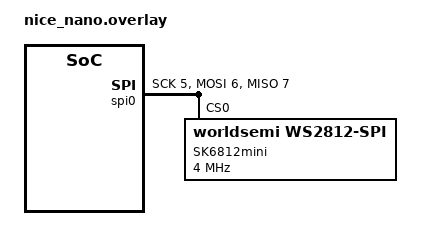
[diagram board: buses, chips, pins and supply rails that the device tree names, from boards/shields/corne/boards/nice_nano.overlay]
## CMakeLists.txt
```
cmake_minimum_required(VERSION 3.13.1)

set(CONFIG_APPLICATION_DEFINED_SYSCALL true)
list(APPEND BOARD_ROOT ${CMAKE_SOURCE_DIR})
list(APPEND DTS_ROOT ${CMAKE_SOURCE_DIR})

# Add our custom Zephyr module for drivers w/ syscalls, etc.
list(APPEND DTS_ROOT ${CMAKE_SOURCE_DIR}/drivers/zephyr)

list(APPEND ZEPHYR_EXTRA_MODULES
  ${CMAKE_CURRENT_SOURCE_DIR}/drivers
)

include(cmake/zmk_config.cmake)

# Find Zephyr. This also loads Zephyr's build system.
find_package(Zephyr REQUIRED HINTS ../zephyr)
project(zmk)

zephyr_linker_sources(RODATA include/linker/zmk-events.ld)

# Add your source file to the "app" target. This must come after
# find_package(Zephyr) which defines the target.
target_include_directories(app PRIVATE include)
target_sources_ifdef(CONFIG_ZMK_SLEEP app PRIVATE src/power.c)
target_sources(app PRIVATE src/activity.c)
target_sources(app PRIVATE src/kscan.c)
target_sources(app PRIVATE src/matrix_transform.c)
target_sources(app PRIVATE src/hid.c)
target_sources(app PRIVATE src/sensors.c)
target_sources(app PRIVATE src/event_manager.c)
target_sources_ifdef(CONFIG_ZMK_EXT_POWER app PRIVATE src/ext_power_generic.c)
target_sources(app PRIVATE src/events/activity_state_changed.c)
target_sources(app PRIVATE src/events/position_state_changed.c)
target_sources(app PRIVATE src/events/layer_state_changed.c)
target_sources(app PRIVATE src/events/keycode_state_changed.c)
target_sources(app PRIVATE src/events/modifiers_state_changed.c)
target_sources(app PRIVATE src/events/sensor_event.c)
target_sources_ifdef(CONFIG_ZMK_BLE app PRIVATE src/events/ble_active_profile_changed.c)
target_sources_ifdef(CONFIG_ZMK_BLE app PRIVATE src/events/battery_state_changed.c)
target_sources_ifdef(CONFIG_USB app PRIVATE src/events/usb_conn_state_changed.c)
target_sources(app PRIVATE src/behaviors/behavior_reset.c)
target_sources_ifdef(CONFIG_ZMK_EXT_POWER app PRIVATE src/behaviors/behavior_ext_power.c)
if ((NOT CONFIG_ZMK_SPLIT) OR CONFIG_ZMK_SPLIT_BLE_ROLE_CENTRAL)
  target_sources(app PRIVATE src/behaviors/behavior_key_press.c)
  target_sources(app PRIVATE src/behaviors/behavior_hold_tap.c)
  target_sources(app PRIVATE src/behaviors/behavior_sticky_key.c)
  target_sources(app PRIVATE src/behaviors/behavior_momentary_layer.c)
  target_sources(app PRIVATE src/behaviors/behavior_outputs.c)
  target_sources(app PRIVATE src/behaviors/behavior_toggle_layer.c)
  target_sources(app PRIVATE src/behaviors/behavior_to_layer.c)
  target_sources(app PRIVATE src/behaviors/behavior_transparent.c)
  target_sources(app PRIVATE src/behaviors/behavior_none.c)
  target_sources(app PRIVATE src/behaviors/behavior_sensor_rotate_key_press.c)
  target_sources(app PRIVATE src/combo.c)
  target_sources(app PRIVATE src/keymap.c)
endif()
target_sources_ifdef(CONFIG_ZMK_RGB_UNDERGLOW app PRIVATE src/behaviors/behavior_rgb_underglow.c)
target_sources_ifdef(CONFIG_ZMK_BLE app PRIVATE src/behaviors/behavior_bt.c)
target_sources_ifdef(CONFIG_ZMK_BLE app PRIVATE src/ble.c)
target_sources_ifdef(CONFIG_ZMK_BLE app PRIVATE src/battery.c)
if (CONFIG_ZMK_SPLIT_BLE AND (NOT CONFIG_ZMK_SPLIT_BLE_ROLE_CENTRAL))
	target_sources(app PRIVATE src/split_listener.c)
	target_sources(app PRIVATE src/split/bluetooth/service.c)
endif()
if (CONFIG_ZMK_SPLIT_BLE AND CONFIG_ZMK_SPLIT_BLE_ROLE_CENTRAL)
	target_sources(app PRIVATE src/split/bluetooth/central.c)
endif()
target_sources_ifdef(CONFIG_USB app PRIVATE src/usb.c)
target_sources_ifdef(CONFIG_ZMK_BLE app PRIVATE src/hog.c)
target_sources_ifdef(CONFIG_ZMK_RGB_UNDERGLOW app PRIVATE src/rgb_underglow.c)
target_sources(app PRIVATE src/endpoints.c)
target_sources(app PRIVATE src/hid_listener.c)
target_sources(app PRIVATE src/main.c)

add_subdirectory(src/display/)

zephyr_cc_option(-Wfatal-errors)
```

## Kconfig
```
# Copyright (c) 2020 The ZMK Contributors
# SPDX-License-Identifier: MIT

mainmenu "ZMK Firmware"

menu "ZMK"

menu "Basic Keyboard Setup"

config ZMK_KEYBOARD_NAME
	string "Keyboard Name"

config USB_DEVICE_PRODUCT
	default ZMK_KEYBOARD_NAME

config BT_DEVICE_NAME
	default ZMK_KEYBOARD_NAME

config USB_DEVICE_VID
	default 0x1D50

config USB_DEVICE_PID
	default 0x615E

config USB_DEVICE_MANUFACTURER
	default "ZMK Project"

menu "HID Output Types"

config ZMK_USB
	bool "USB"
	select USB
	select USB_DEVICE_STACK
	select USB_DEVICE_HID

if ZMK_USB

config USB_NUMOF_EP_WRITE_RETRIES
	default 10

#ZMK_USB
endif

menuconfig ZMK_BLE
	bool "BLE (HID over GATT)"
	select BT
	select BT_SMP
	select BT_SMP_SC_PAIR_ONLY
	select BT_SMP_APP_PAIRING_ACCEPT
	select BT_PERIPHERAL
	select BT_DIS
	select BT_BAS
	select BT_SETTINGS
	select SETTINGS

if ZMK_BLE

config SYSTEM_WORKQUEUE_STACK_SIZE
	default 2048

config ZMK_BLE_THREAD_STACK_SIZE
	int "BLE notify thread stack size"
	default 512

config ZMK_BLE_THREAD_PRIORITY
	int "BLE notify thread priority"
	default 5

config ZMK_BLE_KEYBOARD_REPORT_QUEUE_SIZE
	int "Max number of keyboard HID reports to queue for sending over BLE"
	default 20

config ZMK_BLE_CONSUMER_REPORT_QUEUE_SIZE
	int "Max number of consumer HID reports to queue for sending over BLE"
	default 5

config ZMK_BLE_CLEAR_BONDS_ON_START
	bool "Configuration that clears all bond information from the keyboard on startup."
	default n

# HID GATT notifications sent this way are *not* picked up by Linux, and possibly others.
config BT_GATT_NOTIFY_MULTIPLE
	default n

config BT_DEVICE_APPEARANCE
	default 961

config ZMK_BLE_PASSKEY_ENTRY
	bool "Experimental: Requiring typing passkey from host to pair BLE connection"
	default n

#ZMK_BLE
endif

#HID Output Types
endmenu

menu "Split Support"

config ZMK_SPLIT
	bool "Split keyboard support"

if ZMK_SPLIT

menuconfig ZMK_SPLIT_BLE
	bool "Split keyboard support via BLE transport"
	depends on ZMK_BLE
	default y
	select BT_USER_PHY_UPDATE

if ZMK_SPLIT_BLE

menuconfig ZMK_SPLIT_BLE_ROLE_CENTRAL
	bool "Central"
	select BT_CENTRAL
	select BT_GATT_CLIENT
	select BT_GATT_AUTO_DISCOVER_CCC

if ZMK_SPLIT_BLE_ROLE_CENTRAL

config ZMK_SPLIT_BLE_CENTRAL_POSITION_QUEUE_SIZE
	int "Max number of key position state events to queue when received from peripherals"
	default 5

endif

if !ZMK_SPLIT_BLE_ROLE_CENTRAL

config ZMK_SPLIT_BLE_PERIPHERAL_STACK_SIZE
	int "BLE split peripheral notify thread stack size"
	default 512

config ZMK_SPLIT_BLE_PERIPHERAL_PRIORITY
	int "BLE split peripheral notify thread priority"
	default 5

config ZMK_SPLIT_BLE_PERIPHERAL_POSITION_QUEUE_SIZE
	int "Max number of key position state events to queue to send to the central"
	default 10

config ZMK_USB
	default n

config BT_MAX_PAIRED
	default 1

config BT_MAX_CONN
	default 1

config BT_GAP_AUTO_UPDATE_CONN_PARAMS
	default n

#!ZMK_SPLIT_BLE_ROLE_CENTRAL
endif

#ZMK_SPLIT_BLE
endif

#ZMK_SPLIT
endif 

if ZMK_BLE

if ZMK_SPLIT_BLE && ZMK_SPLIT_BLE_ROLE_CENTRAL

config BT_MAX_CONN
	default 6

config BT_MAX_PAIRED
	default 6

#ZMK_SPLIT_BLE && ZMK_SPLIT_BLE_ROLE_CENTRAL
endif

if !ZMK_SPLIT_BLE

config BT_MAX_CONN
	default 5

config BT_MAX_PAIRED
	default 5

#!ZMK_SPLIT_BLE
endif

#ZMK_BLE
endif

#Split Support
endmenu

#Basic Keyboard Setup
endmenu

menu "Display/LED Options"

rsource "src/display/Kconfig"

config ZMK_RGB_UNDERGLOW
	bool "RGB Adressable LED Underglow"
	select LED_STRIP

if ZMK_RGB_UNDERGLOW

# This default value cuts down on tons of excess .conf files, if you're using GPIO, manually disable this
config SPI
	default y

config ZMK_RGB_UNDERGLOW_EXT_POWER
	bool "RGB underglow toggling also controls external power"
	default y

config ZMK_RGB_UNDERGLOW_HUE_STEP
	int "RGB underglow hue step in degrees of 360"
	default 10

config ZMK_RGB_UNDERGLOW_SAT_STEP
	int "RGB underglow sturation step in percent"
	default 10

config ZMK_RGB_UNDERGLOW_BRT_STEP
	int "RGB underglow brightness step in percent"
	default 10

config ZMK_RGB_UNDERGLOW_HUE_START
	int "RGB underglow start hue value from 0-359"
	default 0

config ZMK_RGB_UNDERGLOW_SAT_START
	int "RGB underglow start saturations value from 0-100"
	default 100

config ZMK_RGB_UNDERGLOW_BRT_START
	int "RGB underglow start brightness value from 0-100"
	default 100

config ZMK_RGB_UNDERGLOW_SPD_START
	int "RGB underglow start animation speed value from 1-5"
	default 3

config ZMK_RGB_UNDERGLOW_EFF_START
	int "RGB underglow start effect int value related to the effect enum list"
	default 0

config ZMK_RGB_UNDERGLOW_ON_START
	bool "RGB underglow starts on by default"
	default y

#ZMK_RGB_UNDERGLOW
endif

#Display/LED Options
endmenu

menu "Power Management"

config ZMK_IDLE_TIMEOUT
	int "Milliseconds of inactivity before entering idle state (OLED shutoff, etc)"
	default 30000

config ZMK_SLEEP
	bool "Enable deep sleep support"
	imply USB

if ZMK_SLEEP

config SYS_POWER_DEEP_SLEEP_STATES
	default y

choice SYS_PM_POLICY
	default SYS_PM_POLICY_APP
endchoice

config DEVICE_POWER_MANAGEMENT
	default y

config ZMK_IDLE_SLEEP_TIMEOUT
	int "Milliseconds of inactivity before entering deep sleep"
	default 900000

#ZMK_SLEEP
endif

config ZMK_EXT_POWER
	bool "Enable support to control external power output"
	default y

#Power Management
endmenu

menu "Combo options"

config ZMK_COMBO_MAX_PRESSED_COMBOS
	int "Maximum number of currently pressed combos"
	default 4

config ZMK_COMBO_MAX_COMBOS_PER_KEY
	int "Maximum number of combos per key"
	default 5

config ZMK_COMBO_MAX_KEYS_PER_COMBO
	int "Maximum number of keys per combo"
	default 4

#Display/LED Options
endmenu

menu "Advanced"

menu "Initialization Priorities"

if USB

config ZMK_USB_INIT_PRIORITY
	int "USB Init Priority"
	default 50

#USB
endif

if ZMK_BLE || ZMK_SPLIT_BLE

config ZMK_BLE_INIT_PRIORITY
	int "BLE Init Priority"
	default 50

#ZMK_BLE || ZMK_SPLIT_BLE
endif

#Initialization Priorities
endmenu

menu "KSCAN Settings"

config ZMK_KSCAN_EVENT_QUEUE_SIZE
	int "Size of the event queue for KSCAN events to buffer events"
	default 4

config ZMK_KSCAN_MOCK_DRIVER
	bool "Enable mock kscan driver to simulate key presses"
	default n

config ZMK_KSCAN_COMPOSITE_DRIVER
	bool "Enable composite kscan driver to combine kscan devices"
	default n

#KSCAN Settings
endmenu

menu "USB Logging"

config ZMK_USB_LOGGING
	bool "Enable USB CDC ACM logging to help debug"
	select LOG
	select USB
	select USB_DEVICE_STACK
	select USB_CDC_ACM
	select SERIAL
	select CONSOLE
	select UART_INTERRUPT_DRIVEN
	select UART_LINE_CTRL
	select UART_CONSOLE
	select USB_UART_CONSOLE

if ZMK_USB_LOGGING

config ZMK_LOG_LEVEL
	default 4

config USB_CDC_ACM_RINGBUF_SIZE
	default 1024

config USB_CDC_ACM_DEVICE_NAME
	default "CDC_ACM"

config USB_CDC_ACM_DEVICE_COUNT
	default 1

config UART_CONSOLE_ON_DEV_NAME
	default "CDC_ACM_0"

config LOG_BUFFER_SIZE
	default 8192

config LOG_STRDUP_BUF_COUNT
	default 16

#ZMK_USB_LOGGING
endif

#USB Logging
endmenu

if SETTINGS

config ZMK_SETTINGS_SAVE_DEBOUNCE
	int "Milliseconds to debounce settings saves"
	default 60000

#SETTINGS
endif

#Advanced
endmenu

#ZMK
endmenu

config HEAP_MEM_POOL_SIZE
	default 8192

config KERNEL_BIN_NAME
	default "zmk"

config REBOOT
	default y

config USB
	default y if HAS_HW_NRF_USBD

config ZMK_WPM
	bool "Calculate WPM"
	default n

module = ZMK
module-str = zmk
source "subsys/logging/Kconfig.template.log_config"

rsource "boards/Kconfig"
rsource "boards/shields/*/Kconfig.defconfig"
rsource "boards/shields/*/Kconfig.shield"

osource "$(ZMK_CONFIG)/boards/shields/*/Kconfig.defconfig"
osource "$(ZMK_CONFIG)/boards/shields/*/Kconfig.shield"


source "Kconfig.zephyr"
```

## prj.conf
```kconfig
# Turn on logging, and set ZMK logging to debug output
CONFIG_LOG=y
CONFIG_ZMK_LOG_LEVEL_DBG=y

# Turn on USB CDC ACM device
CONFIG_USB=y
CONFIG_USB_DEVICE_STACK=y
CONFIG_USB_CDC_ACM=y
CONFIG_USB_CDC_ACM_RINGBUF_SIZE=1024
CONFIG_USB_CDC_ACM_DEVICE_NAME="CDC_ACM"
CONFIG_USB_CDC_ACM_DEVICE_COUNT=1

# Enable serial console
CONFIG_SERIAL=y
CONFIG_CONSOLE=y
CONFIG_UART_INTERRUPT_DRIVEN=y
CONFIG_UART_LINE_CTRL=y

# Enable USB UART, and set the console device
CONFIG_UART_CONSOLE=y
CONFIG_USB_UART_CONSOLE=y
CONFIG_UART_CONSOLE_ON_DEV_NAME="CDC_ACM_0"
CONFIG_USB_UART_DTR_WAIT=n
```

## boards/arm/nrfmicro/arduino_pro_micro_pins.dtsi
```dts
/*
 * Copyright (c) 2020 Pete Johanson
 *
 * SPDX-License-Identifier: MIT
 */

/ {
	pro_micro_d: connector_d {
		compatible = "arduino-pro-micro";
		#gpio-cells = <2>;
		gpio-map-mask = <0xffffffff 0xffffffc0>;
		gpio-map-pass-thru = <0 0x3f>;
		gpio-map
			= <0 0 &gpio0 8 0>		/* D2 - 0 */
			, <1 0 &gpio0 6 0>		/* D3 - 1 */
			, <2 0 &gpio0 15 0>		/* D1 - 2 */
			, <3 0 &gpio0 17 0>		/* D0 - 3 */
			, <4 0 &gpio0 20 0>		/* D4 - 4/A6 */
			, <5 0 &gpio0 13 0>		/* C6 - 5 */
			, <6 0 &gpio0 24 0>		/* D7 - 6/A7 */
			, <7 0 &gpio0 9 0>		/* E6 - 7 */
			, <8 0 &gpio0 10 0>		/* B4 - 8/A8 */
			, <9 0 &gpio1 6 0>		/* B5 - 9/A9 */
			, <10 0 &gpio1 11 0>	/* B6 - 10/A10 */
			, <16 0 &gpio0 28 0>	/* B2 - 16 */
			, <14 0 &gpio0 3 0>		/* B3 - 14 */
			, <15 0 &gpio1 13 0>	/* B1 - 15 */
			;
	};

	pro_micro_a: connector_a {
		compatible = "arduino-pro-micro";
		#gpio-cells = <2>;
		gpio-map-mask = <0xffffffff 0xffffffc0>;
		gpio-map-pass-thru = <0 0x3f>;
		gpio-map
			= <0 0 &gpio0 2 0>	/* F7 - 18/A0 */
			, <1 0 &gpio0 29 0>	/* F6 - 19/A1 */
			, <2 0 &gpio0 31 0>	/* F5 - 20/A2 */
			, <3 0 &gpio0 30 0>	/* F4 - 21/A3 */
			, <6 0 &gpio0 20 0>	/* D4 - 4/A6 */
			, <7 0 &gpio0 24 0>	/* D7 - 6/A7 */
			, <8 0 &gpio0 10 0>	/* B4 - 8/A8 */
			, <9 0 &gpio1 6 0>	/* B5 - 9/A9 */
			, <10 0 &gpio1 11 0>/* B6 - 10/A10 */
			;
	};
};

pro_micro_i2c: &i2c0 {};
pro_micro_spi: &spi1 {};
pro_micro_serial: &uart0 {};
```

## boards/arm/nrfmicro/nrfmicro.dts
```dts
/*
 * Copyright (c) 2020 Pete Johanson
 *
 * SPDX-License-Identifier: MIT
 */

/dts-v1/;
#include <nordic/nrf52840_qiaa.dtsi>
#include "arduino_pro_micro_pins.dtsi"

/ {
	model = "nrfmicro";
	compatible = "joric,nrfmicro";

	chosen {
		zephyr,code-partition = &code_partition;
		// zephyr,console = &uart0;
		//zephyr,bt-mon-uart = &uart0;
		//zephyr,bt-c2h-uart = &uart0;
		zephyr,sram = &sram0;
		zephyr,flash = &flash0;
	};

	leds {
		compatible = "gpio-leds";
		blue_led: led_0 {
			gpios = <&gpio1 10 GPIO_ACTIVE_LOW>;
			label = "Blue LED";
		};
	};

};

&gpio0 {
	status = "okay";
};

&gpio1 {
	status = "okay";
};

&uart0 {
	compatible = "nordic,nrf-uart";
	current-speed = <115200>;
	tx-pin = <6>;
	rx-pin = <8>;
};

&i2c1 {
	compatible = "nordic,nrf-twi";
	sda-pin = <15>;
	scl-pin = <17>;
};

&uart0 {
	compatible = "nordic,nrf-uarte";
	status = "okay";
	current-speed = <115200>;
	tx-pin = <39>;
	rx-pin = <34>;
	rts-pin = <33>;
	cts-pin = <12>;
};

&usbd {
	status = "okay";
};


&flash0 {
	/*
	 * For more information, see:
	 * http://docs.zephyrproject.org/latest/devices/dts/flash_partitions.html
	 */
	partitions {
		compatible = "fixed-partitions";
		#address-cells = <1>;
		#size-cells = <1>;

		boot_partition: partition@0 {
			label = "adafruit_boot";
			reg = <0x000000000 0x0000C000>;
		};
		code_partition: partition@26000 {
			label = "code_partition";
			reg = <0x00026000 0x000d2000>;
		};

		/*
		 * The flash starting at 0x000f8000 and ending at
		 * 0x000fffff is reserved for use by the application.
		 */

		/*
		 * Storage partition will be used by FCB/LittleFS/NVS
		 * if enabled.
		 */
		storage_partition: partition@f8000 {
			label = "storage";
			reg = <0x000f8000 0x00008000>;
		};
	};
};
```

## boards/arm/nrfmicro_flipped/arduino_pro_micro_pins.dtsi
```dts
/*
 * Copyright (c) 2020 Pete Johanson
 *
 * SPDX-License-Identifier: MIT
 */

/ {
	pro_micro_d: connector_d {
		compatible = "arduino-pro-micro";
		#gpio-cells = <2>;
		gpio-map-mask = <0xffffffff 0xffffffc0>;
		gpio-map-pass-thru = <0 0x3f>;
		gpio-map
			= <0 0 &gpio0 8 0>		/* D0 */
			, <1 0 &gpio0 6 0>		/* D1 */
			, <2 0 &gpio0 30 0>		/* D2 */
			, <3 0 &gpio0 31 0>		/* D3 */
			, <4 0 &gpio0 29 0>		/* D4/A6 */
			, <5 0 &gpio0 2 0>		/* D5 */
			, <6 0 &gpio1 13 0>		/* D6/A7 */
			, <7 0 &gpio0 3 0>		/* D7 */
			, <8 0 &gpio0 28 0>		/* D8/A8 */
			, <9 0 &gpio1 11 0>		/* D9/A9 */
			, <10 0 &gpio1 6 0>	    /* D10/A10 */
			, <16 0 &gpio0 10 0>	/* D16 */
			, <14 0 &gpio0 9 0>	    /* D14 */
			, <15 0 &gpio0 24 0>	/* D15 */
			;
	};

	pro_micro_a: connector_a {
		compatible = "arduino-pro-micro";
		#gpio-cells = <2>;
		gpio-map-mask = <0xffffffff 0xffffffc0>;
		gpio-map-pass-thru = <0 0x3f>;
		gpio-map
			= <0 0 &gpio0 13 0>	/* A0 */
			, <1 0 &gpio0 20 0>	/* A1 */
			, <2 0 &gpio0 17 0>	/* A2 */
			, <3 0 &gpio0 15 0>	/* A3 */
			, <6 0 &gpio0 29 0>	/* D4/A6 */
			, <7 0 &gpio1 13 0>	/* D6/A7 */
			, <8 0 &gpio0 28 0>	/* D8/A8 */
			, <9 0 &gpio1 11 0>	/* D9/A9 */
			, <10 0 &gpio1 6 0>	/* D10/A10 */
			;
	};
};

pro_micro_i2c: &i2c0 {};
pro_micro_spi: &spi0 {};
pro_micro_serial: &uart0 {};
```

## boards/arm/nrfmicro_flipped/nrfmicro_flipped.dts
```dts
/*
 * Copyright (c) 2020 Pete Johanson
 *
 * SPDX-License-Identifier: MIT
 */

/dts-v1/;
#include <nordic/nrf52840_qiaa.dtsi>
#include "arduino_pro_micro_pins.dtsi"

/ {
	model = "nrfmicro_flipped";
	compatible = "joric,nrfmicro";

	chosen {
		zephyr,code-partition = &code_partition;
		// zephyr,console = &uart0;
		//zephyr,bt-mon-uart = &uart0;
		//zephyr,bt-c2h-uart = &uart0;
		zephyr,sram = &sram0;
		zephyr,flash = &flash0;
	};

	leds {
		compatible = "gpio-leds";
		blue_led: led_0 {
			gpios = <&gpio1 10 GPIO_ACTIVE_LOW>;
			label = "Blue LED";
		};
	};

};

&gpio0 {
	status = "okay";
};

&gpio1 {
	status = "okay";
};

&uart0 {
	compatible = "nordic,nrf-uart";
	current-speed = <115200>;
	tx-pin = <6>;
	rx-pin = <8>;
};

&i2c0 {
	compatible = "nordic,nrf-twi";
	sda-pin = <30>;
	scl-pin = <31>;
};

&uart0 {
	compatible = "nordic,nrf-uarte";
	status = "okay";
	current-speed = <115200>;
	tx-pin = <39>;
	rx-pin = <34>;
	rts-pin = <33>;
	cts-pin = <12>;
};

&usbd {
	status = "okay";
};


&flash0 {
	/*
	 * For more information, see:
	 * http://docs.zephyrproject.org/latest/devices/dts/flash_partitions.html
	 */
	partitions {
		compatible = "fixed-partitions";
		#address-cells = <1>;
		#size-cells = <1>;

		boot_partition: partition@0 {
			label = "adafruit_boot";
			reg = <0x000000000 0x0000C000>;
		};
		code_partition: partition@26000 {
			label = "code_partition";
			reg = <0x00026000 0x000d2000>;
		};

		/*
		 * The flash starting at 0x000f8000 and ending at
		 * 0x000fffff is reserved for use by the application.
		 */

		/*
		 * Storage partition will be used by FCB/LittleFS/NVS
		 * if enabled.
		 */
		storage_partition: partition@f8000 {
			label = "storage";
			reg = <0x000f8000 0x00008000>;
		};
	};
};
```

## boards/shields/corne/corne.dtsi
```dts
/*
 * Copyright (c) 2020 Pete Johanson
 *
 * SPDX-License-Identifier: MIT
 */

#include <dt-bindings/zmk/matrix-transform.h>

/ {
	chosen {
		zmk,kscan = &kscan0;
		zmk,matrix_transform = &default_transform;
		zmk,underglow = &led_strip;
	};

	default_transform: keymap_transform_0 {
		compatible = "zmk,matrix-transform";
		columns = <12>;
		rows = <4>;
// | SW1  | SW2  | SW3  | SW4  | SW5  | SW6  |   | SW6  | SW5  | SW4  | SW3  | SW2  | SW1  |
// | SW7  | SW8  | SW9  | SW10 | SW11 | SW12 |   | SW12 | SW11 | SW10 | SW9  | SW8  | SW7  |
// | SW13 | SW14 | SW15 | SW16 | SW17 | SW18 |   | SW18 | SW17 | SW16 | SW15 | SW14 | SW13 |
//                      | SW19 | SW20 | SW21 |   | SW21 | SW20 | SW19 |
		map = <
RC(0,0) RC(0,1) RC(0,2) RC(0,3) RC(0,4) RC(0,5)  RC(0,6) RC(0,7) RC(0,8) RC(0,9) RC(0,10) RC(0,12)
RC(1,0) RC(1,1) RC(1,2) RC(1,3) RC(1,4) RC(1,5)  RC(1,6) RC(1,7) RC(1,8) RC(1,9) RC(1,10) RC(1,12)
RC(2,0) RC(2,1) RC(2,2) RC(2,3) RC(2,4) RC(2,5)  RC(2,6) RC(2,7) RC(2,8) RC(2,9) RC(2,10) RC(2,12)
                        RC(3,3) RC(3,4) RC(3,5)  RC(3,6) RC(3,7) RC(3,8)
		>;
	};

	five_column_transform: keymap_transform_1 {
		compatible = "zmk,matrix-transform";
		columns = <10>;
		rows = <4>;
// | SW2  | SW3  | SW4  | SW5  | SW6  |   | SW6  | SW5  | SW4  | SW3  | SW2  |
// | SW8  | SW9  | SW10 | SW11 | SW12 |   | SW12 | SW11 | SW10 | SW9  | SW8  |
// | SW14 | SW15 | SW16 | SW17 | SW18 |   | SW18 | SW17 | SW16 | SW15 | SW14 |
//                      | SW19 | SW20 | SW21 |   | SW21 | SW20 | SW19 |
		map = <
RC(0,1) RC(0,2) RC(0,3) RC(0,4) RC(0,5)  RC(0,6) RC(0,7) RC(0,8) RC(0,9) RC(0,10)
RC(1,1) RC(1,2) RC(1,3) RC(1,4) RC(1,5)  RC(1,6) RC(1,7) RC(1,8) RC(1,9) RC(1,10)
RC(2,1) RC(2,2) RC(2,3) RC(2,4) RC(2,5)  RC(2,6) RC(2,7) RC(2,8) RC(2,9) RC(2,10)
                        RC(3,3) RC(3,4) RC(3,5)  RC(3,6) RC(3,7) RC(3,8)
		>;
	};

	kscan0: kscan {
		compatible = "zmk,kscan-gpio-matrix";
		label = "KSCAN";

		diode-direction = "col2row";
		row-gpios
			= <&pro_micro_d 4 (GPIO_ACTIVE_HIGH | GPIO_PULL_DOWN)>
			, <&pro_micro_d 5 (GPIO_ACTIVE_HIGH | GPIO_PULL_DOWN)>
			, <&pro_micro_d 6 (GPIO_ACTIVE_HIGH | GPIO_PULL_DOWN)>
			, <&pro_micro_d 7 (GPIO_ACTIVE_HIGH | GPIO_PULL_DOWN)>
			;
		
	};

	// TODO: per-key RGB node(s)?
};

&pro_micro_i2c {
	status = "okay";

	ssd1306@3c {
		compatible = "solomon,ssd1306fb";
		reg = <0x3c>;
		label = "DISPLAY";
		width = <128>;
		height = <32>;
		segment-offset = <0>;
		page-offset = <0>;
		display-offset = <0>;
		multiplex-ratio = <31>;
		segment-remap;
		com-invdir;
		com-sequential;
		prechargep = <0x22>;
	};
};
```

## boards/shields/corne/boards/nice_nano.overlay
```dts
&spi0 {
	compatible = "nordic,nrf-spi";
	/* Cannot be used together with i2c0. */
	status = "okay";
	mosi-pin = <6>;
	// Unused pins, needed for SPI definition, but not used by the ws2812 driver itself.
	sck-pin = <5>;
	miso-pin = <7>;

	led_strip: ws2812@0 {
		compatible = "worldsemi,ws2812-spi";
		label = "SK6812mini";

		/* SPI */
		reg = <0>; /* ignored, but necessary for SPI bindings */
		spi-max-frequency = <4000000>;

		/* WS2812 */
		chain-length = <6>; /* There are per-key RGB, but the first 6 are underglow */
		spi-one-frame = <0x70>;
		spi-zero-frame = <0x40>;
	};
};

/ {
	chosen {
		zmk,underglow = &led_strip;
	};
};
```

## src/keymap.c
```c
/*
 * Copyright (c) 2020 The ZMK Contributors
 *
 * SPDX-License-Identifier: MIT
 */

#define IS_BLE_CENTRAL                                                                             \
    (IS_ENABLED(CONFIG_ZMK_SPLIT) && IS_ENABLED(CONFIG_ZMK_BLE) &&                                 \
     IS_ENABLED(CONFIG_ZMK_SPLIT_BLE_ROLE_CENTRAL))

#include <sys/util.h>
#include <bluetooth/bluetooth.h>
#include <logging/log.h>
LOG_MODULE_DECLARE(zmk, CONFIG_ZMK_LOG_LEVEL);

#include <zmk/matrix.h>
#include <zmk/sensors.h>
#include <zmk/keymap.h>
#include <drivers/behavior.h>
#include <zmk/behavior.h>

#if IS_BLE_CENTRAL
#include <zmk/split/bluetooth/central.h>
#endif

#include <zmk/event_manager.h>
#include <zmk/events/position_state_changed.h>
#include <zmk/events/layer_state_changed.h>
#include <zmk/events/sensor_event.h>

static zmk_keymap_layers_state_t _zmk_keymap_layer_state = 0;
static uint8_t _zmk_keymap_layer_default = 0;

#define DT_DRV_COMPAT zmk_keymap

#define LAYER_CHILD_LEN(node) 1 +
#define ZMK_KEYMAP_NODE DT_DRV_INST(0)
#define ZMK_KEYMAP_LAYERS_LEN (DT_INST_FOREACH_CHILD(0, LAYER_CHILD_LEN) 0)

#define LAYER_NODE(l) DT_PHANDLE_BY_IDX(ZMK_KEYMAP_NODE, layers, l)

#define _TRANSFORM_ENTRY(idx, layer)                                                               \
    {                                                                                              \
        .behavior_dev = DT_LABEL(DT_PHANDLE_BY_IDX(layer, bindings, idx)),                         \
        .param1 = COND_CODE_0(DT_PHA_HAS_CELL_AT_IDX(layer, bindings, idx, param1), (0),           \
                              (DT_PHA_BY_IDX(layer, bindings, idx, param1))),                      \
        .param2 = COND_CODE_0(DT_PHA_HAS_CELL_AT_IDX(layer, bindings, idx, param2), (0),           \
                              (DT_PHA_BY_IDX(layer, bindings, idx, param2))),                      \
    },

#define TRANSFORMED_LAYER(node) {UTIL_LISTIFY(DT_PROP_LEN(node, bindings), _TRANSFORM_ENTRY, node)},

#if ZMK_KEYMAP_HAS_SENSORS
#define _TRANSFORM_SENSOR_ENTRY(idx, layer)                                                        \
    {                                                                                              \
        .behavior_dev = DT_LABEL(DT_PHANDLE_BY_IDX(layer, sensor_bindings, idx)),                  \
        .param1 = COND_CODE_0(DT_PHA_HAS_CELL_AT_IDX(layer, sensor_bindings, idx, param1), (0),    \
                              (DT_PHA_BY_IDX(layer, sensor_bindings, idx, param1))),               \
        .param2 = COND_CODE_0(DT_PHA_HAS_CELL_AT_IDX(layer, sensor_bindings, idx, param2), (0),    \
                              (DT_PHA_BY_IDX(layer, sensor_bindings, idx, param2))),               \
    },

#define SENSOR_LAYER(node)                                                                         \
    COND_CODE_1(                                                                                   \
        DT_NODE_HAS_PROP(node, sensor_bindings),                                                   \
        ({UTIL_LISTIFY(DT_PROP_LEN(node, sensor_bindings), _TRANSFORM_SENSOR_ENTRY, node)}),       \
        ({})),

#endif /* ZMK_KEYMAP_HAS_SENSORS */

#define LAYER_LABEL(node) COND_CODE_0(DT_NODE_HAS_PROP(node, label), (NULL), (DT_LABEL(node))),

// State

// When a behavior handles a key position "down" event, we record the layer state
// here so that even if that layer is deactivated before the "up", event, we
// still send the release event to the behavior in that layer also.
static uint32_t zmk_keymap_active_behavior_layer[ZMK_KEYMAP_LEN];

static struct zmk_behavior_binding zmk_keymap[ZMK_KEYMAP_LAYERS_LEN][ZMK_KEYMAP_LEN] = {
    DT_INST_FOREACH_CHILD(0, TRANSFORMED_LAYER)};

static const char *zmk_keymap_layer_names[ZMK_KEYMAP_LAYERS_LEN] = {
    DT_INST_FOREACH_CHILD(0, LAYER_LABEL)};

#if ZMK_KEYMAP_HAS_SENSORS

static struct zmk_behavior_binding zmk_sensor_keymap[ZMK_KEYMAP_LAYERS_LEN]
                                                    [ZMK_KEYMAP_SENSORS_LEN] = {
                                                        DT_INST_FOREACH_CHILD(0, SENSOR_LAYER)};

#endif /* ZMK_KEYMAP_HAS_SENSORS */

static inline int set_layer_state(uint8_t layer, bool state) {
    if (layer >= ZMK_KEYMAP_LAYERS_LEN) {
        return -EINVAL;
    }

    // Default layer should *always* remain active
    if (layer == _zmk_keymap_layer_default && !state) {
        return 0;
    }

    zmk_keymap_layers_state_t old_state = _zmk_keymap_layer_state;
    WRITE_BIT(_zmk_keymap_layer_state, layer, state);
    // Don't send state changes unless there was an actual change
    if (old_state != _zmk_keymap_layer_state) {
        LOG_DBG("layer_changed: layer %d state %d", layer, state);
        ZMK_EVENT_RAISE(create_layer_state_changed(layer, state));
    }

    return 0;
}

uint8_t zmk_keymap_layer_default() { return _zmk_keymap_layer_default; }

zmk_keymap_layers_state_t zmk_keymap_layer_state() { return _zmk_keymap_layer_state; }

bool zmk_keymap_layer_active_with_state(uint8_t layer, zmk_keymap_layers_state_t state_to_test) {
    // The default layer is assumed to be ALWAYS ACTIVE so we include an || here to ensure nobody
    // breaks up that assumption by accident
    return (state_to_test & (BIT(layer))) == (BIT(layer)) || layer == _zmk_keymap_layer_default;
};

bool zmk_keymap_layer_active(uint8_t layer) {
    return zmk_keymap_layer_active_with_state(layer, _zmk_keymap_layer_state);
};

uint8_t zmk_keymap_highest_layer_active() {
    for (uint8_t layer = ZMK_KEYMAP_LAYERS_LEN - 1; layer > 0; layer--) {
        if (zmk_keymap_layer_active(layer)) {
            return layer;
        }
    }
    return zmk_keymap_layer_default();
}

int zmk_keymap_layer_activate(uint8_t layer) { return set_layer_state(layer, true); };

int zmk_keymap_layer_deactivate(uint8_t layer) { return set_layer_state(layer, false); };

int zmk_keymap_layer_toggle(uint8_t layer) {
    if (zmk_keymap_layer_active(layer)) {
        return zmk_keymap_layer_deactivate(layer);
    }

    return zmk_keymap_layer_activate(layer);
};

int zmk_keymap_layer_to(uint8_t layer) {
    for (int i = ZMK_KEYMAP_LAYERS_LEN - 1; i >= 0; i--) {
        zmk_keymap_layer_deactivate(i);
    }

    zmk_keymap_layer_activate(layer);

    return 0;
}

bool is_active_layer(uint8_t layer, zmk_keymap_layers_state_t layer_state) {
    return (layer_state & BIT(layer)) == BIT(layer) || layer == _zmk_keymap_layer_default;
}

const char *zmk_keymap_layer_label(uint8_t layer) {
    if (layer >= ZMK_KEYMAP_LAYERS_LEN) {
        return NULL;
    }

    return zmk_keymap_layer_names[layer];
}

int invoke_locally(struct zmk_behavior_binding *binding, struct zmk_behavior_binding_event event,
                   bool pressed) {
    if (pressed) {
        return behavior_keymap_binding_pressed(binding, event);
    } else {
        return behavior_keymap_binding_released(binding, event);
    }
}

int zmk_keymap_apply_position_state(zmk_position_state_changed_source_t source, int layer,
                                    uint32_t position, bool pressed, int64_t timestamp) {
    // We want to make a copy of this, since it may be converted from
    // relative to absolute before being invoked
    struct zmk_behavior_binding binding = zmk_keymap[layer][position];
    const struct device *behavior;
    struct zmk_behavior_binding_event event = {
        .layer = layer,
        .position = position,
        .timestamp = timestamp,
    };

    LOG_DBG("layer: %d position: %d, binding name: %s", layer, position,
            log_strdup(binding.behavior_dev));

    behavior = device_get_binding(binding.behavior_dev);

    if (!behavior) {
        LOG_WRN("No behavior assigned to %d on layer %d", position, layer);
        return 1;
    }

    int err = behavior_keymap_binding_to_absolute(&binding, event);
    if (err) {
        LOG_ERR("Failed to convert relative to absolute behavior binding (err %d)", err);
        return err;
    }

    enum behavior_locality locality = BEHAVIOR_LOCALITY_CENTRAL;
    err = behavior_get_locality(behavior, &locality);
    if (err) {
        LOG_ERR("Failed to get behavior locality %d", err);
        return err;
    }

    switch (locality) {
    case BEHAVIOR_LOCALITY_CENTRAL:
        return invoke_locally(&binding, event, pressed);
    case BEHAVIOR_LOCALITY_EVENT_SOURCE:
#if IS_BLE_CENTRAL
        if (!bt_addr_le_cmp(source, BT_ADDR_LE_NONE)) {
            return invoke_locally(&binding, event, pressed);
        } else {
            return zmk_split_bt_invoke_behavior(source, &binding, event, pressed);
        }
#else
        return invoke_locally(&binding, event, pressed);
#endif
    case BEHAVIOR_LOCALITY_GLOBAL:
#if IS_BLE_CENTRAL
        zmk_split_bt_invoke_behavior(BT_ADDR_LE_ANY, &binding, event, pressed);
#endif
        return invoke_locally(&binding, event, pressed);
    }

    return -ENOTSUP;
}

int zmk_keymap_position_state_changed(zmk_position_state_changed_source_t source, uint32_t position,
                                      bool pressed, int64_t timestamp) {
    if (pressed) {
        zmk_keymap_active_behavior_layer[position] = _zmk_keymap_layer_state;
    }
    for (int layer = ZMK_KEYMAP_LAYERS_LEN - 1; layer >= _zmk_keymap_layer_default; layer--) {
        if (zmk_keymap_layer_active_with_state(layer, zmk_keymap_active_behavior_layer[position])) {
            int ret = zmk_keymap_apply_position_state(source, layer, position, pressed, timestamp);
            if (ret > 0) {
                LOG_DBG("behavior processing to continue to next layer");
                continue;
            } else if (ret < 0) {
                LOG_DBG("Behavior returned error: %d", ret);
                return ret;
            } else {
                return ret;
            }
        }
    }

    return -ENOTSUP;
}

#if ZMK_KEYMAP_HAS_SENSORS
int zmk_keymap_sensor_triggered(uint8_t sensor_number, const struct device *sensor,
                                int64_t timestamp) {
    for (int layer = ZMK_KEYMAP_LAYERS_LEN - 1; layer >= _zmk_keymap_layer_default; layer--) {
        if (zmk_keymap_layer_active(layer) && zmk_sensor_keymap[layer] != NULL) {
            struct zmk_behavior_binding *binding = &zmk_sensor_keymap[layer][sensor_number];
            const struct device *behavior;
            int ret;

            LOG_DBG("layer: %d sensor_number: %d, binding name: %s", layer, sensor_number,
                    log_strdup(binding->behavior_dev));

            behavior = device_get_binding(binding->behavior_dev);

            if (!behavior) {
                LOG_DBG("No behavior assigned to %d on layer %d", sensor_number, layer);
                continue;
            }

            ret = behavior_sensor_keymap_binding_triggered(binding, sensor, timestamp);

            if (ret > 0) {
                LOG_DBG("behavior processing to continue to next layer");
                continue;
            } else if (ret < 0) {
                LOG_DBG("Behavior returned error: %d", ret);
                return ret;
            } else {
                return ret;
            }
        }
    }

    return -ENOTSUP;
}

#endif /* ZMK_KEYMAP_HAS_SENSORS */

int keymap_listener(const zmk_event_t *eh) {
    const struct zmk_position_state_changed *pos_ev;
    if ((pos_ev = as_zmk_position_state_changed(eh)) != NULL) {
        return zmk_keymap_position_state_changed(pos_ev->source, pos_ev->position, pos_ev->state,
                                                 pos_ev->timestamp);
    }

#if ZMK_KEYMAP_HAS_SENSORS
    const struct zmk_sensor_event *sensor_ev;
    if ((sensor_ev = as_zmk_sensor_event(eh)) != NULL) {
        return zmk_keymap_sensor_triggered(sensor_ev->sensor_number, sensor_ev->sensor,
                                           sensor_ev->timestamp);
    }
#endif /* ZMK_KEYMAP_HAS_SENSORS */

    return -ENOTSUP;
}

ZMK_LISTENER(keymap, keymap_listener);
ZMK_SUBSCRIPTION(keymap, zmk_position_state_changed);

#if ZMK_KEYMAP_HAS_SENSORS
ZMK_SUBSCRIPTION(keymap, zmk_sensor_event);
#endif /* ZMK_KEYMAP_HAS_SENSORS */
```
